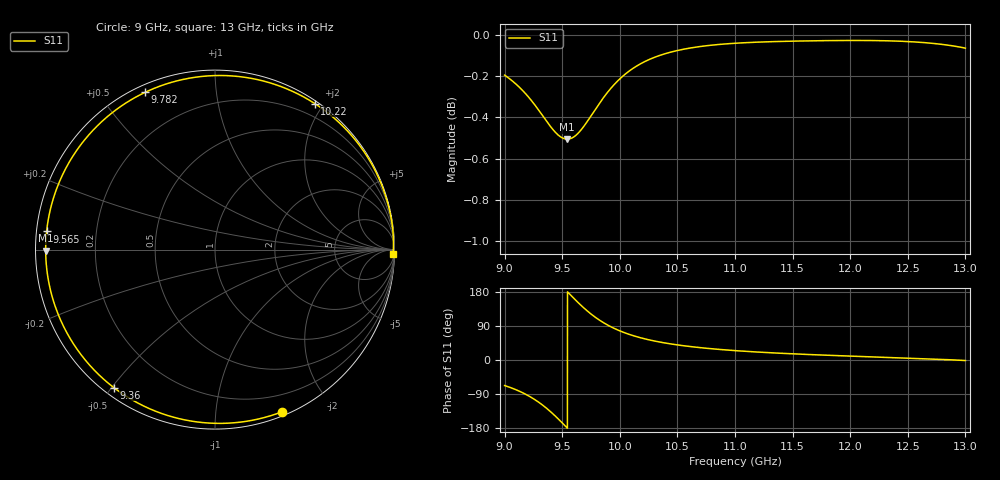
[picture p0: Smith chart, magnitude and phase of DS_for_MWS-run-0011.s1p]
! TOUCHSTONE file generated by CST DESIGN STUDIO
! Date and time: Tue Feb  4 17:13:00 2025
! Project name: C:\Work\MatlabApps\UnitCellOptimizationMatlab\CST\unitcell.cst
! Tree item: Tasks\Sweep1\SPara1\S-Parameters
! Header version: 2024
! Port assignment regex: !\s*Touchstone port\s*([0-9]+)\s*=\s*(CST MWS port|CST DES external port|CST DES block port)\s*(.+)\s* \(\"(.*)\"\)(\s*mode\s*([0-9]+))?.*
! Touchstone port assignment:
! Touchstone port 1 = CST DES external port 1 ("")
# GHz S MA R 50
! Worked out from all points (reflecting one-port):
!   4001 points, 9 GHz to 13 GHz, reference 50 ohm
!   lowest |S11| = -0.5 dB at 9.544 GHz (marker M1), VSWR 34.38, Z = 1.45 - j0.179 ohm
!   phase of S11 starts at -67 deg and turns -294 deg over the sweep
!   S11 on the Smith chart (normalised r, x): 9 GHz: 0.04, -1.50; 9.36 GHz: 0.03, -0.51; 9.565 GHz: 0.03, +0.05; 9.782 GHz: 0.03, +0.65; 10.22 GHz: 0.03, +1.89; 13 GHz: 22, -75
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9  0.9779 -67.4
9.105  0.9726 -79.3
9.216  0.9653 -96.0
9.292  0.9592 -110.6
9.36  0.9533 -126.3
9.427  0.948 -144.2
9.465  0.9457 -155.3
9.5  0.9442 -165.9
9.544  0.9435 -179.6
9.565  0.9436 173.8
9.619  0.9455 157.2
9.679  0.9495 139.8
9.73  0.954 126.3
9.782  0.9588 114.0
9.828  0.963 104.3
9.878  0.9673 95.0
9.939  0.9719 85.2
10  0.9758 76.9
10.103  0.9811 65.5
10.219  0.9854 55.7
10.348  0.9888 47.3
10.5  0.9914 39.8
10.721  0.9939 31.9
11  0.9955 24.8
11.5  0.9967 16.3
12  0.997 10.3
12.5  0.9964 5.1
13  0.9928 -1.4
